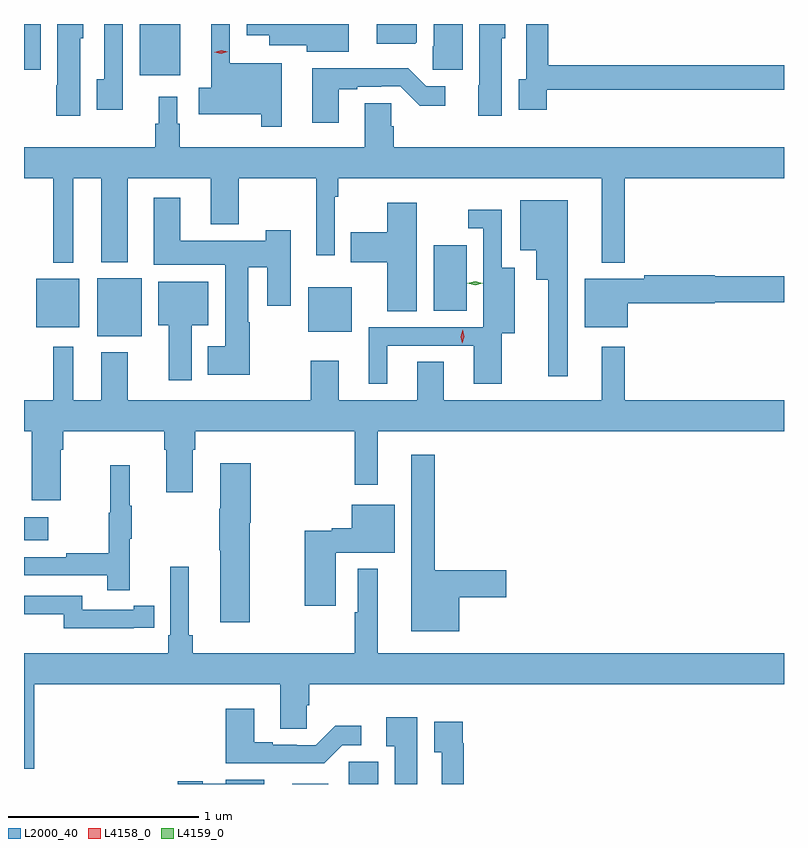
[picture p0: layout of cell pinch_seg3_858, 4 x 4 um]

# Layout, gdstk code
import gdstk
lib = gdstk.Library(unit=1e-6, precision=1e-09)
def R(c, l, rs):  # rectangles x0, y0, x1, y1
    for r in rs: c.add(gdstk.rectangle(r[:2], r[2:], *l))
def P(c, l, *ps):  # polygons
    for p in ps: c.add(gdstk.Polygon(p, *l))
L2000_40 = (2000, 40)
L4158_0 = (4158, 0)
L4159_0 = (4159, 0)

pinch_seg3_858 = lib.new_cell('pinch_seg3_858')
R(pinch_seg3_858, L2000_40, [(708.062,671.088,708.252,671.089), (708.358,671.088,708.514,671.205), (706.65,672.371,706.777,672.493), (707.036,673.445,707.269,673.75), (708.146,673.469,708.376,673.702), (706.715,673.493,706.942,673.747), (708.806,673.58,708.979,673.924), (707.258,674.819,707.473,675.088), (706.65,674.847,706.738,675.088)])
P(pinch_seg3_858, L2000_40, [(708.958,675.088),(708.806,675.088),(708.806,674.97),(708.802,674.97),(708.802,674.847),(708.958,674.847)],
  [(709.165,675.012),(709.183,675.012),(709.183,675.088),(709.046,675.088),(709.046,674.766),(709.04,674.766),(709.04,674.604),(709.165,674.604)],
  [(706.945,675.012),(706.963,675.012),(706.963,675.088),(706.826,675.088),(706.826,674.766),(706.82,674.766),(706.82,674.604),(706.945,674.604)],
  [(708.358,675.088),(707.822,675.088),(707.822,675.029),(707.942,675.029),(707.942,674.975),(708.138,674.975),(708.138,674.942),(708.358,674.942)],
  [(708.718,674.992),(708.718,675.088),(708.506,675.088),(708.506,674.984),(708.71,674.984)],
  [(708.006,674.881),(707.733,674.881),(707.733,675.088),(707.636,675.088),(707.636,674.753),(707.57,674.753),(707.57,674.612),(707.898,674.612),(707.898,674.547),(708.006,674.547)],
  [(707.169,675.088),(707.073,675.088),(707.073,674.798),(707.033,674.798),(707.033,674.637),(707.169,674.637)],
  [(709.402,674.742),(710.65,674.742),(710.65,674.87),(709.409,674.87),(709.409,675.088),(709.293,675.088),(709.293,674.798),(709.253,674.798),(709.253,674.637),(709.402,674.637)],
  [(708.307,674.745),(708.403,674.745),(708.403,674.757),(708.53,674.757),(708.53,674.76),(708.63,674.76),(708.733,674.658),(708.868,674.658),(708.868,674.76),(708.768,674.76),(708.673,674.855),(708.167,674.855),(708.167,674.568),(708.307,674.568)],
  [(706.909,674.276),(707.057,674.276),(707.057,673.835),(707.197,673.835),(707.197,674.276),(707.633,674.276),(707.633,674.033),(707.781,674.033),(707.781,674.276),(708.188,674.276),(708.188,673.872),(708.285,673.872),(708.285,674.18),(708.305,674.18),(708.305,674.276),(709.691,674.276),(709.691,673.832),(709.813,673.832),(709.813,674.276),(710.65,674.276),(710.65,674.44),(708.596,674.44),(708.596,674.55),(708.582,674.55),(708.582,674.672),(708.443,674.672),(708.443,674.44),(707.47,674.44),(707.47,674.564),(707.457,674.564),(707.457,674.704),(707.36,674.704),(707.36,674.564),(707.341,674.564),(707.341,674.44),(706.65,674.44),(706.65,674.276),(706.805,674.276),(706.805,673.832),(706.909,673.832)],
  [(707.838,673.517),(707.83,673.517),(707.83,673.808),(707.93,673.808),(707.93,673.605),(708.055,673.605),(708.055,674.002),(707.923,674.002),(707.923,673.948),(707.473,673.948),(707.473,674.173),(707.333,674.173),(707.333,673.82),(707.708,673.82),(707.708,673.393),(707.618,673.393),(707.618,673.241),(707.838,673.241)],
  [(709.513,674.161),(709.262,674.161),(709.262,673.898),(709.346,673.898),(709.346,673.742),(709.409,673.742),(709.409,673.233),(709.513,673.233)],
  [(708.718,674.146),(708.563,674.146),(708.563,673.993),(708.37,673.993),(708.37,673.835),(708.563,673.835),(708.563,673.576),(708.718,673.576)],
  [(708.562,673.395),(709.016,673.395),(709.016,673.194),(709.165,673.194),(709.165,673.46),(709.234,673.46),(709.234,673.804),(709.164,673.804),(709.164,674.11),(708.987,674.11),(708.987,674.013),(709.068,674.013),(709.068,673.7),(709.067,673.7),(709.067,673.491),(708.464,673.491),(708.464,673.194),(708.562,673.194)],
  [(709.828,673.619),(710.286,673.619),(710.286,673.624),(710.65,673.624),(710.65,673.76),(710.286,673.76),(710.286,673.766),(709.914,673.766),(709.914,673.747),(709.601,673.747),(709.601,673.493),(709.828,673.493)],
  [(707.533,673.502),(707.62,673.502),(707.62,673.732),(707.357,673.732),(707.357,673.502),(707.411,673.502),(707.411,673.212),(707.533,673.212)],
  [(707.387,672.848),(707.399,672.848),(707.399,672.624),(707.539,672.624),(707.539,672.848),(707.552,672.848),(707.552,672.944),(708.39,672.944),(708.39,672.663),(708.511,672.663),(708.511,672.944),(710.65,672.944),(710.65,673.108),(709.813,673.108),(709.813,673.39),(709.691,673.39),(709.691,673.108),(708.859,673.108),(708.859,673.31),(708.719,673.31),(708.719,673.108),(708.307,673.108),(708.307,673.315),(708.16,673.315),(708.16,673.108),(707.197,673.108),(707.197,673.36),(707.057,673.36),(707.057,673.108),(706.909,673.108),(706.909,673.39),(706.805,673.39),(706.805,673.108),(706.65,673.108),(706.65,672.944),(706.691,672.944),(706.691,672.582),(706.843,672.582),(706.843,672.848),(706.856,672.848),(706.856,672.944),(707.387,672.944)],
  [(708.94,672.07),(709.189,672.07),(709.189,672.212),(708.811,672.212),(708.811,672.82),(708.689,672.82),(708.689,671.891),(708.94,671.891)],
  [(707.838,672.462),(707.843,672.462),(707.843,672.775),(707.684,672.775),(707.684,672.536),(707.677,672.536),(707.677,672.319),(707.684,672.319),(707.684,671.94),(707.838,671.94)],
  [(707.207,672.379),(707.218,672.379),(707.218,672.553),(707.207,672.553),(707.207,672.766),(707.104,672.766),(707.104,672.516),(707.097,672.516),(707.097,672.302),(706.873,672.302),(706.873,672.282),(706.65,672.282),(706.65,672.186),(707.089,672.186),(707.089,672.108),(707.207,672.108)],
  [(708.292,672.305),(708.601,672.305),(708.601,672.559),(708.374,672.559),(708.374,672.434),(708.269,672.434),(708.269,672.421),(708.127,672.421),(708.127,672.027),(708.292,672.027)],
  [(706.705,671.612),(707.999,671.612),(707.999,671.38),(708.138,671.38),(708.138,671.502),(708.152,671.502),(708.152,671.612),(710.65,671.612),(710.65,671.776),(708.511,671.776),(708.511,672.22),(708.407,672.22),(708.407,671.993),(708.39,671.993),(708.39,671.776),(707.537,671.776),(707.537,671.872),(707.518,671.872),(707.518,672.232),(707.421,672.232),(707.421,671.872),(707.408,671.872),(707.408,671.776),(706.65,671.776),(706.65,671.168),(706.705,671.168)],
  [(707.228,671.91),(707.336,671.91),(707.336,672.026),(707.228,672.026),(707.228,672.006),(706.956,672.006),(706.956,672.078),(706.65,672.078),(706.65,671.982),(706.86,671.982),(706.86,671.909),(707.228,671.909)],
  [(708.324,671.292),(708.424,671.292),(708.424,671.395),(708.289,671.395),(708.186,671.292),(708.086,671.292),(708.086,671.295),(707.959,671.295),(707.959,671.308),(707.863,671.308),(707.863,671.485),(707.711,671.485),(707.711,671.198),(708.23,671.198)],
  [(708.721,671.44),(708.557,671.44),(708.557,671.286),(708.602,671.286),(708.602,671.088),(708.721,671.088)],
  [(708.965,671.303),(708.958,671.303),(708.958,671.416),(708.809,671.416),(708.809,671.255),(708.849,671.255),(708.849,671.088),(708.965,671.088)],
  [(707.914,671.11),(707.712,671.11),(707.712,671.089),(707.592,671.089),(707.592,671.102),(707.46,671.102),(707.46,671.088),(707.914,671.088)])
P(pinch_seg3_858, L4158_0, [(708.956,673.407),(708.948,673.443),(708.959,673.478),(708.959,673.478),(708.96,673.478),(708.968,673.442),(708.957,673.407),(708.957,673.407)],
  [(707.687,674.931),(707.652,674.94),(707.651,674.94),(707.652,674.94),(707.687,674.951),(707.722,674.942),(707.722,674.942),(707.722,674.942)])
P(pinch_seg3_858, L4159_0, [(709.024,673.714),(708.983,673.724),(708.982,673.724),(708.983,673.724),(709.024,673.733),(709.065,673.723),(709.065,673.723),(709.065,673.723)])

lib.write_gds('pinch_seg3_858.gds')
